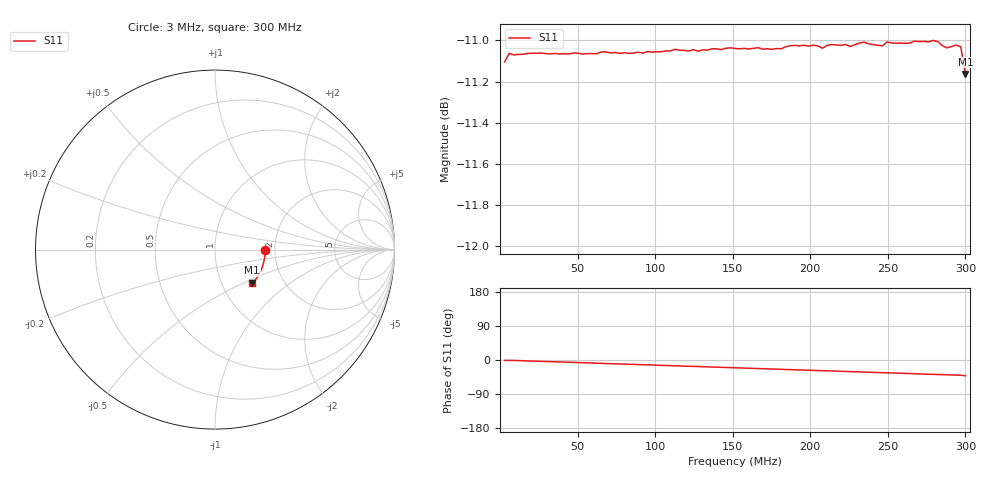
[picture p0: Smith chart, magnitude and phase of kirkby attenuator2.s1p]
! File created by NanoVNA (https://gen111.taobao.com/)
! Start 3000000Hz  Stop 300000000Hz  Points 101
# HZ S MA R 50
!S - Parameter data, F S11
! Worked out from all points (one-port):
!   101 points, 3 MHz to 300 MHz, reference 50 ohm
!   lowest |S11| = -11.2 dB at 300 MHz (marker M1), VSWR 1.76, Z = 69.7 - j27.7 ohm
!   |S11| at or under -10 dB: start of sweep to end of sweep
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3000000  0.2785 -0.9
5970000  0.2798 -1.0
8940000  0.2796 -1.2
4.161e7  0.2798 -5.6
6.537e7  0.28 -8.8
7.725e7  0.2798 -10.5
1.1586e8  0.2803 -15.7
1.2774e8  0.2801 -17.3
1.3665e8  0.2805 -18.6
1.515e8  0.2806 -20.5
1.7526e8  0.2804 -23.8
1.9011e8  0.2811 -25.8
2.0199e8  0.2811 -27.4
2.0793e8  0.2806 -28.2
2.109e8  0.2811 -28.6
2.1684e8  0.2811 -29.3
2.2575e8  0.2809 -30.7
2.3466e8  0.2816 -31.8
2.4654e8  0.281 -33.4
2.4951e8  0.2816 -33.9
2.6436e8  0.2815 -35.8
2.7921e8  0.2818 -37.9
2.8218e8  0.2817 -38.2
2.8515e8  0.281 -38.8
2.8812e8  0.2807 -39.0
2.9406e8  0.2811 -39.8
2.9703e8  0.2808 -40.2
3e8  0.2766 -41.6
